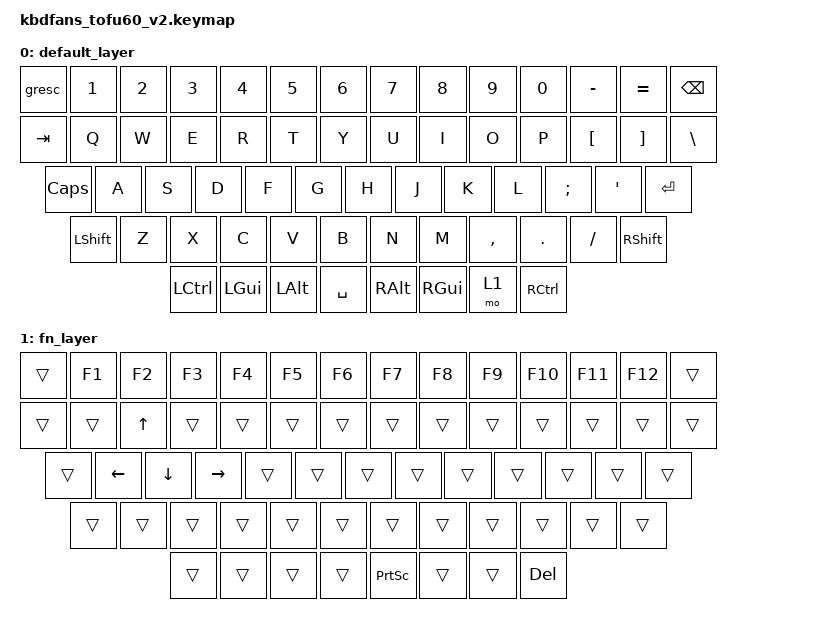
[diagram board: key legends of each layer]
/*
 * Copyright (c) 2023 The ZMK Contributors
 * SPDX-License-Identifier: MIT
 */

#include <behaviors.dtsi>
#include <dt-bindings/zmk/keys.h>

/ {
    keymap {
        compatible = "zmk,keymap";

        default_layer {
// ------------------------------------------------------------------------------------------
// | ESC |  1  |  2  |  3  |  4  |  5  |  6  |  7  |  8  |  9  |  0  |  -  |  =  |   BKSP   |
// | TAB  |  Q  |  W  |  E  |  R  |  T  |  Y  |  U  |  I  |  O  |  P  |  [  |  ]  |   "|"   |
// | CAPS  |  A  |  S  |  D  |  F  |  G  |  H  |  J  |  K  |  L  |  ;  |  '  |     ENTER    |
// |  SHIFT  |  Z  |  X  |  C  |  V  |  B  |  N  |  M  |  ,  |  .  |  /  |      SHIFT       |
// |  CTL  |  WIN  |  ALT  |            SPACE              |  ALT  |  WIN  |  MO(1) |  CTL  |
// ------------------------------------------------------------------------------------------
            bindings = <
    &gresc  &kp N1 &kp N2 &kp N3 &kp N4 &kp N5 &kp N6 &kp N7 &kp N8 &kp N9 &kp N0 &kp MINUS &kp EQUAL  &kp BSPC
    &kp TAB  &kp Q  &kp W  &kp E  &kp R  &kp T  &kp Y  &kp U  &kp I  &kp O  &kp P  &kp LBKT  &kp RBKT  &kp BSLH
    &kp CLCK  &kp A  &kp S  &kp D  &kp F  &kp G  &kp H  &kp J  &kp K  &kp L  &kp SEMI &kp SQT           &kp RET
    &kp LSHFT   &kp Z  &kp X  &kp C  &kp V  &kp B  &kp N  &kp M  &kp COMMA &kp DOT &kp FSLH           &kp RSHFT
    &kp LCTRL &kp LGUI &kp LALT             &kp SPACE                     &kp RALT  &kp RGUI  &mo 1   &kp RCTRL
            >;
        };

        fn_layer {
// -----------------------------------------------------------------------------------------
// | --- | F1  | F2  | F3  | F4  | F5  | F6  | F7  | F8  | F9  | F10 | F11 | F12 |   ---   |
// | ---  | --- |  UP | --- | --- | --- | --- | --- | --- | --- | --- | --- | --- |  ---   |
// |  ---  | LT  | DN  | RT  | --- | --- | --- | --- | --- | --- | --- | --- |     ---     |
// |  ---    | --- | --- | --- | --- | --- | --- | --- | --- | --- | --- |                 |
// |  ---  |  ---  |  ---  |             ---             | PRT SCR |  ---  |  ---  |  DEL  |
// ----------------------------------------------------------------------------------------
            bindings = <
    &trans  &kp F1  &kp F2    &kp F3    &kp F4 &kp F5 &kp F6 &kp F7 &kp F8 &kp F9 &kp F10 &kp F11 &kp F12 &trans
    &trans   &trans   &kp UP   &trans    &trans &trans &trans &trans &trans &trans &trans  &trans  &trans &trans
    &trans    &kp LEFT &kp DOWN &kp RIGHT &trans &trans &trans &trans &trans &trans &trans  &trans        &trans
    &trans      &trans   &trans   &trans    &trans &trans &trans &trans &trans &trans &trans              &trans
    &trans  &trans   &trans                            &trans                     &kp PSCRN &trans &trans &kp DEL
            >;
        };
    };
};
